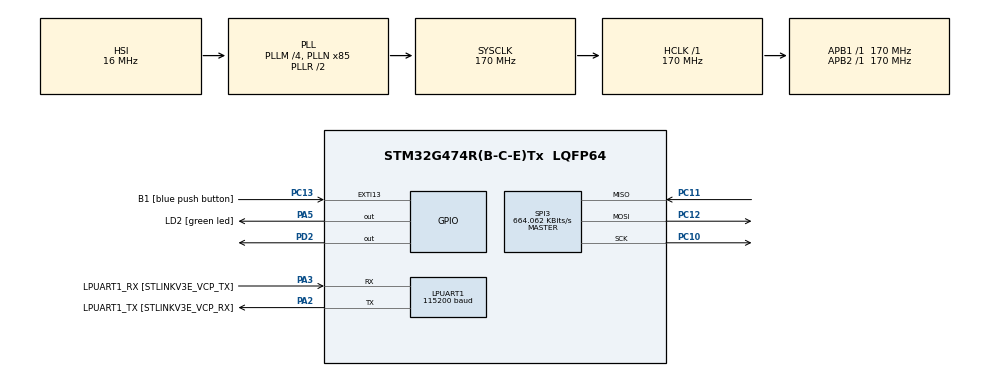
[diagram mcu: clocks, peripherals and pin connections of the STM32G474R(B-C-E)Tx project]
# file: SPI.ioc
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LPUART1.BaudRate=115200
LPUART1.WordLength=UART_WORDLENGTH_8B
Mcu.Family=STM32G4
Mcu.Name=STM32G474R(B-C-E)Tx
Mcu.Package=LQFP64
NVIC.EXTI15_10_IRQn=true\:0\:0\:false\:false\:true\:true\:true\:true
NVIC.PriorityGroup=NVIC_PRIORITYGROUP_4
NVIC.SPI3_IRQn=true\:0\:0\:false\:false\:true\:true\:true\:true
NVIC.TIM2_IRQn=true\:0\:0\:false\:false\:true\:true\:true\:true
PA13.GPIO_Label=T_SWDIO
PA13.Mode=Serial_Wire
PA13.Signal=SYS_JTMS-SWDIO
PA14.GPIO_Label=T_SWCLK
PA14.Mode=Serial_Wire
PA14.Signal=SYS_JTCK-SWCLK
PA2.GPIO_Label=LPUART1_TX [STLINKV3E_VCP_RX]
PA2.Mode=Asynchronous
PA2.Signal=LPUART1_TX
PA3.GPIO_Label=LPUART1_RX [STLINKV3E_VCP_TX]
PA3.Mode=Asynchronous
PA3.Signal=LPUART1_RX
PA5.GPIO_Label=LD2 [green led]
PA5.Signal=GPIO_Output
PB3.GPIO_Label=T_SWO
PB3.Signal=SYS_JTDO-SWO
PC10.Mode=Full_Duplex_Master
PC10.Signal=SPI3_SCK
PC11.Mode=Full_Duplex_Master
PC11.Signal=SPI3_MISO
PC12.Mode=Full_Duplex_Master
PC12.Signal=SPI3_MOSI
PC13.GPIO_Label=B1 [blue push button]
PC13.Signal=GPXTI13
PC14-OSC32_IN.Mode=LSE-External-Oscillator
PC14-OSC32_IN.Signal=RCC_OSC32_IN
PC15-OSC32_OUT.Mode=LSE-External-Oscillator
PC15-OSC32_OUT.Signal=RCC_OSC32_OUT
PD2.PinState=GPIO_PIN_SET
PD2.Signal=GPIO_Output
PF0-OSC_IN.Mode=HSE-External-Oscillator
PF0-OSC_IN.Signal=RCC_OSC_IN
PF1-OSC_OUT.Mode=HSE-External-Oscillator
PF1-OSC_OUT.Signal=RCC_OSC_OUT
ProjectManager.HeapSize=0x200
ProjectManager.StackSize=0x400
ProjectManager.TargetToolchain=STM32CubeIDE
RCC.ADC12Freq_Value=170000000
RCC.ADC345Freq_Value=170000000
RCC.AHBFreq_Value=170000000
RCC.APB1Freq_Value=170000000
RCC.APB1TimFreq_Value=170000000
RCC.APB2Freq_Value=170000000
RCC.APB2TimFreq_Value=170000000
RCC.CortexFreq_Value=170000000
RCC.EXTERNAL_CLOCK_VALUE=12288000
RCC.HCLKFreq_Value=170000000
RCC.HSE_VALUE=24000000
RCC.HSI48_VALUE=48000000
RCC.HSI_VALUE=16000000
RCC.PLLM=RCC_PLLM_DIV4
RCC.PLLN=85
RCC.RTCClockSelection=RCC_RTCCLKSOURCE_LSE
RCC.SYSCLKFreq_VALUE=170000000
RCC.SYSCLKSource=RCC_SYSCLKSOURCE_PLLCLK
RCC.USBFreq_Value=170000000
RCC.VCOOutputFreq_Value=340000000
SPI3.BaudRatePrescaler=SPI_BAUDRATEPRESCALER_256
SPI3.CLKPhase=SPI_PHASE_1EDGE
SPI3.CLKPolarity=SPI_POLARITY_LOW
SPI3.CalculateBaudRate=664.062 KBits/s
SPI3.DataSize=SPI_DATASIZE_8BIT
SPI3.Direction=SPI_DIRECTION_2LINES
SPI3.Mode=SPI_MODE_MASTER
SPI3.VirtualType=VM_MASTER
TIM2.PeriodNoDither=999
TIM2.Prescaler=16999
VP_SYS_VS_DBSignals.Mode=DisableDeadBatterySignals
VP_TIM2_VS_ClockSourceINT.Mode=Internal
board=NUCLEO-G474RE

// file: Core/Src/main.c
/* USER CODE BEGIN Header */
/**
  ******************************************************************************
  * @file           : main.c
  * @brief          : Main program body
  ******************************************************************************
  * @attention
  *
  * Copyright (c) 2024 STMicroelectronics.
  * All rights reserved.
  *
  * This software is licensed under terms that can be found in the LICENSE file
  * in the root directory of this software component.
  * If no LICENSE file comes with this software, it is provided AS-IS.
  *
  ******************************************************************************
  */
/* USER CODE END Header */
#include "main.h"

/* USER CODE BEGIN Includes */
#include "stdio.h"
#include "stdlib.h"
/* USER CODE END Includes */

UART_HandleTypeDef hlpuart1;

SPI_HandleTypeDef hspi3;

TIM_HandleTypeDef htim2;

/* USER CODE BEGIN PV */
uint8_t SPIRx[10];
uint8_t SPITx[10];
uint8_t Mode;
uint8_t Switch = 1;
uint8_t LMode1 = 1;
uint8_t n = 0;
uint8_t tick = 0;
uint8_t point = 0;
/* USER CODE END PV */

void SystemClock_Config(void);
static void MX_GPIO_Init(void);
static void MX_LPUART1_UART_Init(void);
static void MX_SPI3_Init(void);
static void MX_TIM2_Init(void);
/* USER CODE BEGIN PFP */
void SPITxRx_Setup();
void SPITxRx_readIO();
void IODIRB_Setup();
void ReadSwitch();
/* USER CODE END PFP */

int main(void)
{

  /* MCU Configuration--------------------------------------------------------*/

  /* Reset of all peripherals, Initializes the Flash interface and the Systick. */
  HAL_Init();

  /* Configure the system clock */
  SystemClock_Config();

  /* Initialize all configured peripherals */
  MX_GPIO_Init();
  MX_LPUART1_UART_Init();
  MX_SPI3_Init();
  MX_TIM2_Init();
  /* USER CODE BEGIN 2 */
  //  SPITxRx_Setup();//for mode 1,1
    IODIRB_Setup();
    HAL_TIM_Base_Start_IT(&htim2);
  /* USER CODE END 2 */

  /* Infinite loop */
  while (1)
  {

    /* USER CODE BEGIN 3 */
	  HAL_Delay(1);
	  SPITxRx_readIO();
	  ReadSwitch();
	  if(Switch == n && n != 0){
		  point++;
		  n = 0;
		  Mode = 1;
		  HAL_GPIO_WritePin(GPIOD, GPIO_PIN_2, 1);
		  SPITxRx_readIO(); // light update : off
	  }
	  else if(Mode == 0){
		  Switch = 0;
	  }
  }
  /* USER CODE END 3 */
}

void SystemClock_Config(void)
{
  RCC_OscInitTypeDef RCC_OscInitStruct = {0};
  RCC_ClkInitTypeDef RCC_ClkInitStruct = {0};

  /** Configure the main internal regulator output voltage
  */
  HAL_PWREx_ControlVoltageScaling(PWR_REGULATOR_VOLTAGE_SCALE1_BOOST);

  /** Initializes the RCC Oscillators according to the specified parameters
  * in the RCC_OscInitTypeDef structure.
  */
  RCC_OscInitStruct.OscillatorType = RCC_OSCILLATORTYPE_HSI;
  RCC_OscInitStruct.HSIState = RCC_HSI_ON;
  RCC_OscInitStruct.HSICalibrationValue = RCC_HSICALIBRATION_DEFAULT;
  RCC_OscInitStruct.PLL.PLLState = RCC_PLL_ON;
  RCC_OscInitStruct.PLL.PLLSource = RCC_PLLSOURCE_HSI;
  RCC_OscInitStruct.PLL.PLLM = RCC_PLLM_DIV4;
  RCC_OscInitStruct.PLL.PLLN = 85;
  RCC_OscInitStruct.PLL.PLLP = RCC_PLLP_DIV2;
  RCC_OscInitStruct.PLL.PLLQ = RCC_PLLQ_DIV2;
  RCC_OscInitStruct.PLL.PLLR = RCC_PLLR_DIV2;
  if (HAL_RCC_OscConfig(&RCC_OscInitStruct) != HAL_OK)
  {
    Error_Handler();
  }

  /** Initializes the CPU, AHB and APB buses clocks
  */
  RCC_ClkInitStruct.ClockType = RCC_CLOCKTYPE_HCLK|RCC_CLOCKTYPE_SYSCLK
                              |RCC_CLOCKTYPE_PCLK1|RCC_CLOCKTYPE_PCLK2;
  RCC_ClkInitStruct.SYSCLKSource = RCC_SYSCLKSOURCE_PLLCLK;
  RCC_ClkInitStruct.AHBCLKDivider = RCC_SYSCLK_DIV1;
  RCC_ClkInitStruct.APB1CLKDivider = RCC_HCLK_DIV1;
  RCC_ClkInitStruct.APB2CLKDivider = RCC_HCLK_DIV1;

  if (HAL_RCC_ClockConfig(&RCC_ClkInitStruct, FLASH_LATENCY_4) != HAL_OK)
  {
    Error_Handler();
  }
}

static void MX_LPUART1_UART_Init(void)
{

  hlpuart1.Instance = LPUART1;
  hlpuart1.Init.BaudRate = 115200;
  hlpuart1.Init.WordLength = UART_WORDLENGTH_8B;
  hlpuart1.Init.StopBits = UART_STOPBITS_1;
  hlpuart1.Init.Parity = UART_PARITY_NONE;
  hlpuart1.Init.Mode = UART_MODE_TX_RX;
  hlpuart1.Init.HwFlowCtl = UART_HWCONTROL_NONE;
  hlpuart1.Init.OneBitSampling = UART_ONE_BIT_SAMPLE_DISABLE;
  hlpuart1.Init.ClockPrescaler = UART_PRESCALER_DIV1;
  hlpuart1.AdvancedInit.AdvFeatureInit = UART_ADVFEATURE_NO_INIT;
  if (HAL_UART_Init(&hlpuart1) != HAL_OK)
  {
    Error_Handler();
  }
  if (HAL_UARTEx_SetTxFifoThreshold(&hlpuart1, UART_TXFIFO_THRESHOLD_1_8) != HAL_OK)
  {
    Error_Handler();
  }
  if (HAL_UARTEx_SetRxFifoThreshold(&hlpuart1, UART_RXFIFO_THRESHOLD_1_8) != HAL_OK)
  {
    Error_Handler();
  }
  if (HAL_UARTEx_DisableFifoMode(&hlpuart1) != HAL_OK)
  {
    Error_Handler();
  }

}

static void MX_SPI3_Init(void)
{

  /* SPI3 parameter configuration*/
  hspi3.Instance = SPI3;
  hspi3.Init.Mode = SPI_MODE_MASTER;
  hspi3.Init.Direction = SPI_DIRECTION_2LINES;
  hspi3.Init.DataSize = SPI_DATASIZE_8BIT;
  hspi3.Init.CLKPolarity = SPI_POLARITY_LOW;
  hspi3.Init.CLKPhase = SPI_PHASE_1EDGE;
  hspi3.Init.NSS = SPI_NSS_SOFT;
  hspi3.Init.BaudRatePrescaler = SPI_BAUDRATEPRESCALER_256;
  hspi3.Init.FirstBit = SPI_FIRSTBIT_MSB;
  hspi3.Init.TIMode = SPI_TIMODE_DISABLE;
  hspi3.Init.CRCCalculation = SPI_CRCCALCULATION_DISABLE;
  hspi3.Init.CRCPolynomial = 7;
  hspi3.Init.CRCLength = SPI_CRC_LENGTH_DATASIZE;
  hspi3.Init.NSSPMode = SPI_NSS_PULSE_ENABLE;
  if (HAL_SPI_Init(&hspi3) != HAL_OK)
  {
    Error_Handler();
  }

}

static void MX_TIM2_Init(void)
{

  TIM_ClockConfigTypeDef sClockSourceConfig = {0};
  TIM_MasterConfigTypeDef sMasterConfig = {0};

  htim2.Instance = TIM2;
  htim2.Init.Prescaler = 16999;
  htim2.Init.CounterMode = TIM_COUNTERMODE_UP;
  htim2.Init.Period = 999;
  htim2.Init.ClockDivision = TIM_CLOCKDIVISION_DIV1;
  htim2.Init.AutoReloadPreload = TIM_AUTORELOAD_PRELOAD_DISABLE;
  if (HAL_TIM_Base_Init(&htim2) != HAL_OK)
  {
    Error_Handler();
  }
  sClockSourceConfig.ClockSource = TIM_CLOCKSOURCE_INTERNAL;
  if (HAL_TIM_ConfigClockSource(&htim2, &sClockSourceConfig) != HAL_OK)
  {
    Error_Handler();
  }
  sMasterConfig.MasterOutputTrigger = TIM_TRGO_RESET;
  sMasterConfig.MasterSlaveMode = TIM_MASTERSLAVEMODE_DISABLE;
  if (HAL_TIMEx_MasterConfigSynchronization(&htim2, &sMasterConfig) != HAL_OK)
  {
    Error_Handler();
  }

}

static void MX_GPIO_Init(void)
{
  GPIO_InitTypeDef GPIO_InitStruct = {0};

  /* GPIO Ports Clock Enable */
  __HAL_RCC_GPIOC_CLK_ENABLE();
  __HAL_RCC_GPIOF_CLK_ENABLE();
  __HAL_RCC_GPIOA_CLK_ENABLE();
  __HAL_RCC_GPIOD_CLK_ENABLE();
  __HAL_RCC_GPIOB_CLK_ENABLE();

  /*Configure GPIO pin Output Level */
  HAL_GPIO_WritePin(LD2_GPIO_Port, LD2_Pin, GPIO_PIN_RESET);

  /*Configure GPIO pin Output Level */
  HAL_GPIO_WritePin(GPIOD, GPIO_PIN_2, GPIO_PIN_SET);

  /*Configure GPIO pin : B1_Pin */
  GPIO_InitStruct.Pin = B1_Pin;
  GPIO_InitStruct.Mode = GPIO_MODE_IT_RISING;
  GPIO_InitStruct.Pull = GPIO_NOPULL;
  HAL_GPIO_Init(B1_GPIO_Port, &GPIO_InitStruct);

  /*Configure GPIO pin : LD2_Pin */
  GPIO_InitStruct.Pin = LD2_Pin;
  GPIO_InitStruct.Mode = GPIO_MODE_OUTPUT_PP;
  GPIO_InitStruct.Pull = GPIO_NOPULL;
  GPIO_InitStruct.Speed = GPIO_SPEED_FREQ_LOW;
  HAL_GPIO_Init(LD2_GPIO_Port, &GPIO_InitStruct);

  /*Configure GPIO pin : PD2 */
  GPIO_InitStruct.Pin = GPIO_PIN_2;
  GPIO_InitStruct.Mode = GPIO_MODE_OUTPUT_PP;
  GPIO_InitStruct.Pull = GPIO_NOPULL;
  GPIO_InitStruct.Speed = GPIO_SPEED_FREQ_LOW;
  HAL_GPIO_Init(GPIOD, &GPIO_InitStruct);

  /* EXTI interrupt init*/
  HAL_NVIC_SetPriority(EXTI15_10_IRQn, 0, 0);
  HAL_NVIC_EnableIRQ(EXTI15_10_IRQn);

}

/* USER CODE BEGIN 4 */
void SPITxRx_Setup()
{
//CS pulse
HAL_GPIO_WritePin(GPIOD, GPIO_PIN_2, 0); // CS Select
HAL_Delay(1);
HAL_GPIO_WritePin(GPIOD, GPIO_PIN_2, 1); // CS deSelect
HAL_Delay(1);
}

void IODIRB_Setup()//at BEGIN 2
{
	HAL_GPIO_WritePin(GPIOD, GPIO_PIN_2, 0);
	SPITx[0] = 0b01000000;//write
	SPITx[1] = 0x01;//IODIRB
	SPITx[2] = 0b00000000;
	HAL_SPI_TransmitReceive_IT(&hspi3, SPITx, SPIRx, 3);
}

void SPITxRx_readIO()
{
	if(HAL_GPIO_ReadPin(GPIOD,GPIO_PIN_2))
	{
		HAL_GPIO_WritePin(GPIOD, GPIO_PIN_2, 0); // CS Select
		if (Mode == 0)
		{
			SPITx[0] = 0b01000001;//read
			SPITx[1] = 0x12;
			SPITx[2] = 0;
			Mode = 1;
		}
		else if(Mode == 1)
		{
			SPITx[0] = 0b01000000;//write
			SPITx[1] = 0x15;//OLATB
			//LED_From();
			if(n == 0 || (n >= 5 && n < 9)){
				SPITx[2] = 0xFF; //4 latter bit , 0 on 1 off
			}
			else if(n == 1){
				SPITx[2] = 0b11111110;
			}
			else if(n == 2){
				SPITx[2] = 0b11111101;
			}
			else if(n == 3){
				SPITx[2] = 0b11111011;
			}
			else if(n == 4){
				SPITx[2] = 0b11110111;
			}
			else if(n >= 9){
				SPITx[2] = 0b11111111;
			}
			Mode = 0;
		}
		HAL_SPI_TransmitReceive_IT(&hspi3, SPITx, SPIRx, 3);

	}
}

void ReadSwitch()
{
	if (SPIRx[2]==14)
		{
			Switch = 1;
		}
	else if (SPIRx[2]==13)
		{
			Switch = 2;
		}
	else if (SPIRx[2]==11)
		{
			Switch = 4;
		}
	else if (SPIRx[2]==7)
		{
			Switch = 3;
		}
}

//void LED_From()
//{
//	if (Switch == 1)
//		{
//			SPITx[0] = 0b01000000;//write
//			SPITx[1] = 0x15;//OLATB
//			if (LMode1 == 1)
//				{
//				SPITx[2] = 0b11111110;
//				}
//			else if (LMode1 == 2)
//				{
//				SPITx[2] = 0b11111101;
//				}
//			else if (LMode1 == 3)
//				{
//				SPITx[2] = 0b11111011;
//				}
//			else if (LMode1 == 4)
//				{
//				SPITx[2] = 0b11110111;
//				}
//			else if (LMode1 == 5)
//				{
//				SPITx[2] = 0b11101111;
//				}
//			else if (LMode1 == 6)
//				{
//				SPITx[2] = 0b11011111;
//				}
//			else if (LMode1 == 7)
//				{
//				SPITx[2] = 0b10111111;
//				}
//			else if (LMode1 == 8)
//				{
//				SPITx[2] = 0b01111111;
//				}
//		}
//		else if (Switch == 2)
//		{
//			SPITx[0] = 0b01000000;//write
//			SPITx[1] = 0x15;//OLATB
//			if (LMode1 == 1)
//				{
//				SPITx[2] = 0b00000001;
//				}
//			else if (LMode1 == 2)
//				{
//				SPITx[2] = 0b00000010;
//				}
//			else if (LMode1 == 3)
//				{
//				SPITx[2] = 0b00000100;
//				}
//			else if (LMode1 == 4)
//				{
//				SPITx[2] = 0b00001000;
//				}
//			else if (LMode1 == 5)
//				{
//				SPITx[2] = 0b00010000;
//				}
//			else if (LMode1 == 6)
//				{
//				SPITx[2] = 0b00100000;
//				}
//			else if (LMode1 == 7)
//				{
//				SPITx[2] = 0b01000000;
//				}
//			else if (LMode1 == 8)
//				{
//				SPITx[2] = 0b10000000;
//				}
//		}
//
//}

void HAL_SPI_TxRxCpltCallback(SPI_HandleTypeDef *hspi)
{
//	Mode+=1;
//
//	if (Mode>1)
//	{
//		Mode = 0;
//	}

	HAL_GPIO_WritePin(GPIOD, GPIO_PIN_2, 1); //CS dnSelect
}

void HAL_TIM_PeriodElapsedCallback(TIM_HandleTypeDef *htim)
{
	if (htim == &htim2)
	{
		if(tick <300)
		{
			LMode1+=1;
			if (LMode1>16)
			{
				LMode1 = 1;
			}
			if (LMode1%8 == 0){
				n = rand() % 10;
			}
			tick++;
		}
		else{
			n = 0;
			//send UART

		}
	}
}
/* USER CODE END 4 */

void Error_Handler(void)
{
  __disable_irq();
  while (1)
  {
  }
}
